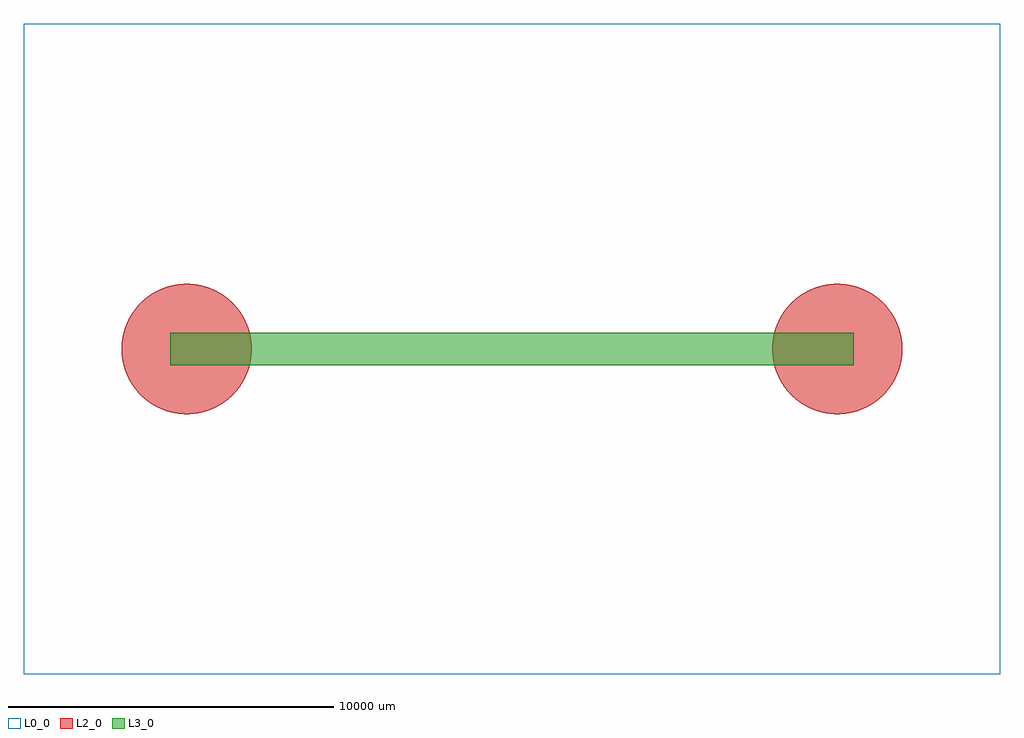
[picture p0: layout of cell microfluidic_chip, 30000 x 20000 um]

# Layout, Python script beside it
import gdspy

# Define the library and cell for the GDS layout
lib = gdspy.GdsLibrary()
cell = lib.new_cell('microfluidic_chip')

# Layer definitions
layer0 = {'layer': 0, 'datatype': 0}
layer2 = {'layer': 2, 'datatype': 0}
layer3 = {'layer': 3, 'datatype': 0}

# Draw the bulk of the chip on layer 0
rect = gdspy.Rectangle((0, 0), (30e3, 20e3), **layer0)
cell.add(rect)

# Draw the vias on layer 2
via1 = gdspy.Round((5e3, 10e3), 2e3, **layer2)
via2 = gdspy.Round((25e3, 10e3), 2e3, **layer2)
cell.add(via1)
cell.add(via2)

# Draw the channel on layer 3
channel = gdspy.Rectangle((5e3 - 0.5e3, 9.5e3), (25e3 + 0.5e3, 10.5e3), **layer3)
cell.add(channel)

# Save the design to a GDS file
lib.write_gds('microfluidic_chip.gds')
